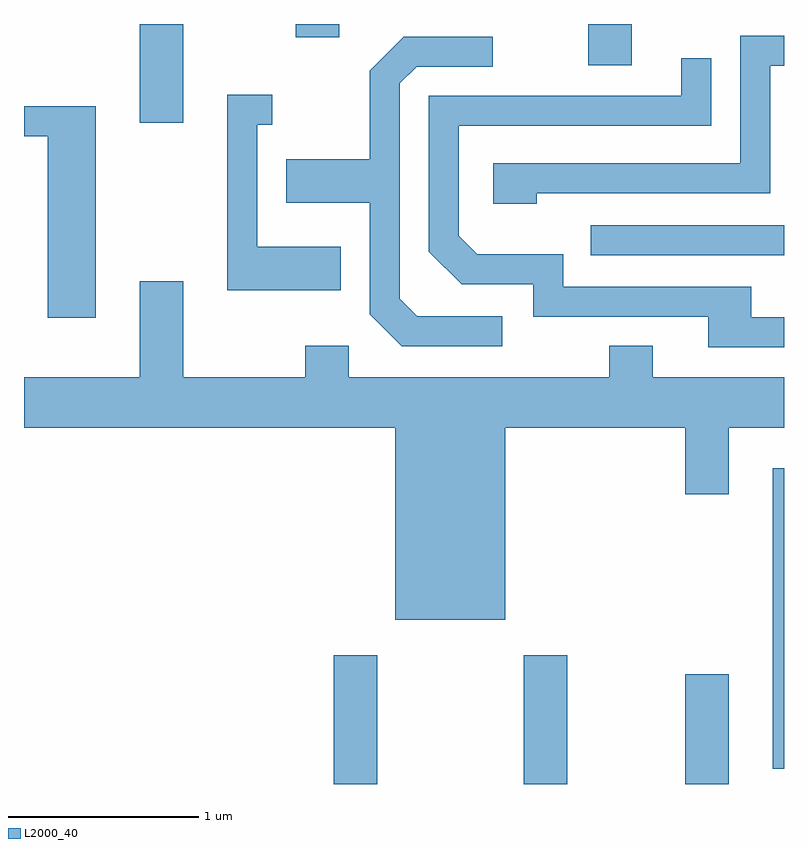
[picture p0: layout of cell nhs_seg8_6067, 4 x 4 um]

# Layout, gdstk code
import gdstk
lib = gdstk.Library(unit=1e-6, precision=1e-09)
def R(c, l, rs):  # rectangles x0, y0, x1, y1
    for r in rs: c.add(gdstk.rectangle(r[:2], r[2:], *l))
def P(c, l, *ps):  # polygons
    for p in ps: c.add(gdstk.Polygon(p, *l))
L2000_40 = (2000, 40)

nhs_seg8_6067 = lib.new_cell('nhs_seg8_6067')
R(nhs_seg8_6067, L2000_40, [(369.241,1812.342,369.469,1813.019), (370.241,1812.342,370.469,1813.019), (371.091,1812.342,371.319,1812.919), (371.551,1812.421,371.611,1814.004), (370.593,1815.126,371.611,1815.284), (368.221,1815.821,368.449,1816.342), (370.581,1816.126,370.809,1816.342), (369.041,1816.271,369.269,1816.342)])
P(nhs_seg8_6067, L2000_40, [(370.309,1815.451),(371.539,1815.451),(371.539,1816.121),(371.611,1816.121),(371.611,1816.279),(371.381,1816.279),(371.381,1815.609),(370.081,1815.609),(370.081,1815.396),(370.309,1815.396)],
  [(370.128,1814.804),(369.682,1814.804),(369.589,1814.897),(369.589,1816.029),(369.677,1816.116),(370.078,1816.116),(370.078,1816.274),(369.609,1816.274),(369.431,1816.097),(369.431,1815.629),(368.991,1815.629),(368.991,1815.401),(369.431,1815.401),(369.431,1814.814),(369.599,1814.646),(370.128,1814.646)],
  [(371.611,1814.799),(371.439,1814.799),(371.439,1814.959),(370.449,1814.959),(370.449,1815.129),(369.997,1815.129),(369.899,1815.227),(369.899,1815.806),(371.229,1815.806),(371.229,1816.163),(371.071,1816.163),(371.071,1815.964),(369.741,1815.964),(369.741,1815.144),(369.914,1814.971),(370.291,1814.971),(370.291,1814.801),(371.211,1814.801),(371.211,1814.641),(371.611,1814.641)],
  [(369.279,1815.169),(368.839,1815.169),(368.839,1815.811),(368.918,1815.811),(368.918,1815.969),(368.681,1815.969),(368.681,1814.941),(369.279,1814.941)],
  [(367.989,1815.909),(367.611,1815.909),(367.611,1815.751),(367.736,1815.751),(367.736,1814.796),(367.989,1814.796)],
  [(370.144,1814.216),(371.091,1814.216),(371.091,1813.866),(371.319,1813.866),(371.319,1814.216),(371.611,1814.216),(371.611,1814.484),(370.919,1814.484),(370.919,1814.649),(370.691,1814.649),(370.691,1814.484),(369.319,1814.484),(369.319,1814.649),(369.091,1814.649),(369.091,1814.484),(368.449,1814.484),(368.449,1814.989),(368.221,1814.989),(368.221,1814.484),(367.611,1814.484),(367.611,1814.216),(369.566,1814.216),(369.566,1813.206),(370.144,1813.206)])

lib.write_gds('nhs_seg8_6067.gds')
